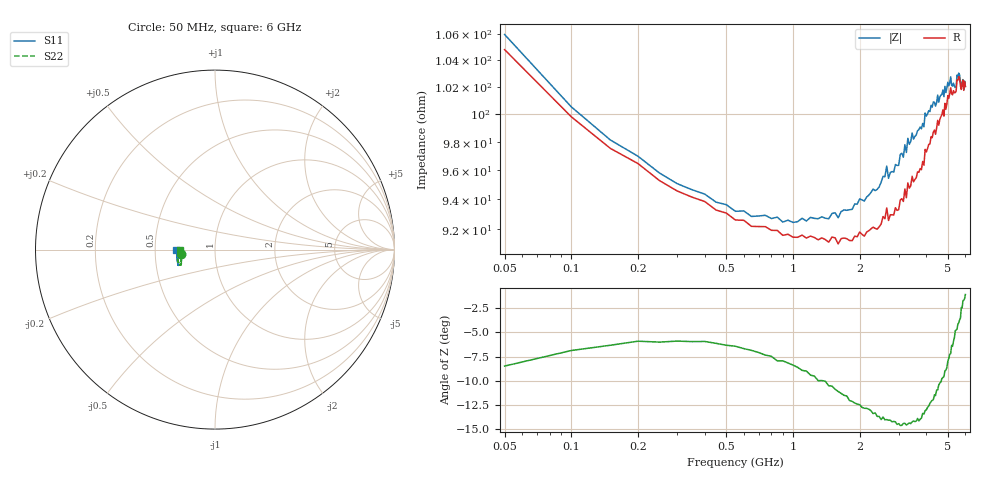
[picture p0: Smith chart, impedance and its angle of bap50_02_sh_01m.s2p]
! Created by janssen on Wed Jul 24 12:31:53 METDST 2002
# HZ S MA R 50
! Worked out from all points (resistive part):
!   120 points, 50 MHz to 6 GHz, reference 50 ohm
!   read as one part in shunt: R = 105 ohm at 50 MHz
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5e7  0.1918 -173.1  0.8115 -1.6  0.8101 -1.7  0.1918 -173.0
1e8  0.2003 -174.1  0.8022 -1.3  0.8015 -1.3  0.1992 -174.1
3e8  0.2078 -173.6  0.7919 -0.8  0.7916 -0.9  0.2086 -173.7
1.05e9  0.2172 -167.5  0.7877 -0.3  0.7875 -0.4  0.2143 -167.0
2.05e9  0.2195 -160.5  0.7906 -0.1  0.789 -0.2  0.2157 -159.3
2.95e9  0.2229 -156.9  0.7962 0.0  0.7939 -0.1  0.2124 -156.3
3.05e9  0.2183 -157.5  0.7958 -0.1  0.7923 -0.1  0.2092 -155.7
3.15e9  0.2202 -156.9  0.7966 0.1  0.795 -0.1  0.2125 -156.1
3.3e9  0.2198 -156.9  0.7985 0.0  0.7948 0.0  0.2064 -155.9
3.35e9  0.2191 -157.1  0.7987 0.0  0.7956 -0.1  0.2103 -156.3
3.6e9  0.2232 -157.5  0.8009 0.1  0.7972 -0.0  0.2059 -156.2
4.05e9  0.2185 -159.8  0.8044 0.0  0.7991 0.1  0.2031 -158.4
4.75e9  0.2152 -165.0  0.8069 -0.0  0.8033 0.0  0.1943 -163.5
4.8e9  0.2151 -165.1  0.8077 -0.1  0.8038 -0.1  0.1983 -164.5
5.05e9  0.2147 -168.2  0.8089 -0.0  0.8027 0.0  0.1922 -166.7
5.15e9  0.2113 -169.1  0.8104 -0.2  0.8039 -0.0  0.193 -168.5
5.4e9  0.215 -172.5  0.8093 -0.0  0.804 0.1  0.1913 -171.4
5.5e9  0.209 -173.2  0.81 -0.2  0.8065 0.0  0.1931 -172.7
5.7e9  0.2163 -175.1  0.812 -0.3  0.8068 -0.0  0.1921 -175.3
5.85e9  0.2145 -178.2  0.8121 -0.2  0.8057 0.0  0.191 -177.2
5.9e9  0.2127 -178.5  0.8108 -0.3  0.8065 -0.1  0.196 -178.3
6e9  0.2153 -179.7  0.8129 -0.4  0.8082 -0.0  0.1959 -179.2
